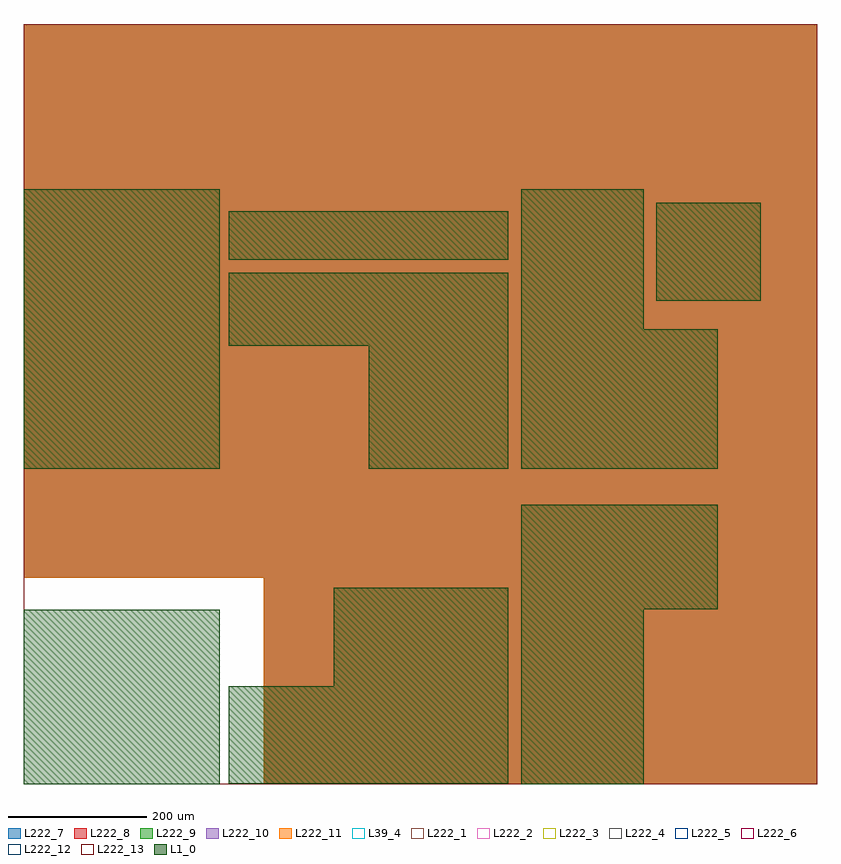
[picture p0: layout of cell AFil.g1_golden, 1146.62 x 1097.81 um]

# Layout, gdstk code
import gdstk
lib = gdstk.Library(unit=1e-6, precision=1e-09)
def R(c, l, rs):  # rectangles x0, y0, x1, y1
    for r in rs: c.add(gdstk.rectangle(r[:2], r[2:], *l))
def A(c, l, x, y, w, h, nx, ny, dx, dy):  # array of equal rectangles
    R(c, l, [(x+i*dx, y+j*dy, x+i*dx+w, y+j*dy+h) for i in range(nx) for j in range(ny)])
L1_0 = (1, 0)
L39_4 = (39, 4)
L222_1 = (222, 1)
L222_2 = (222, 2)
L222_3 = (222, 3)
L222_4 = (222, 4)
L222_5 = (222, 5)
L222_6 = (222, 6)
L222_7 = (222, 7)
L222_8 = (222, 8)
L222_9 = (222, 9)
L222_10 = (222, 10)
L222_11 = (222, 11)
L222_12 = (222, 12)
L222_13 = (222, 13)

afil_g1_golden = lib.new_cell('AFil.g1_golden')
A(afil_g1_golden, L1_0, 0, 0, 35, 50, 8, 5, 35.5, 50.5)
A(afil_g1_golden, L1_0, 718.9, 0, 35, 50, 5, 5, 35.5, 50.5)
A(afil_g1_golden, L1_0, 296.58, 0.03, 50, 35, 8, 4, 50.5, 35.5)
A(afil_g1_golden, L1_0, 448.08, 142.03, 50, 35, 5, 4, 50.5, 35.5)
A(afil_g1_golden, L1_0, 718.9, 252.5, 35, 50, 8, 3, 35.5, 50.5)
A(afil_g1_golden, L1_0, 0, 455.31, 35, 50, 8, 8, 35.5, 50.5)
A(afil_g1_golden, L1_0, 718.9, 455.31, 35, 50, 8, 4, 35.5, 50.5)
A(afil_g1_golden, L1_0, 498.58, 455.34, 50, 35, 4, 5, 50.5, 35.5)
A(afil_g1_golden, L1_0, 296.58, 632.84, 50, 35, 8, 3, 50.5, 35.5)
A(afil_g1_golden, L1_0, 718.9, 657.31, 35, 50, 5, 4, 35.5, 50.5)
A(afil_g1_golden, L1_0, 913.63, 698.25, 50, 35, 3, 4, 50.5, 35.5)
A(afil_g1_golden, L1_0, 296.58, 756.93, 50, 35, 8, 2, 50.5, 35.5)
R(afil_g1_golden, L39_4, [(0,0,1146.62,1097.81)])
R(afil_g1_golden, L222_1, [(0,0,1146.62,1097.81)])
R(afil_g1_golden, L222_2, [(0,0,1146.62,1097.81)])
R(afil_g1_golden, L222_3, [(0,0,1146.62,1097.81)])
R(afil_g1_golden, L222_4, [(0,0,1146.62,1097.81)])
R(afil_g1_golden, L222_5, [(0,0,1146.62,1097.81)])
R(afil_g1_golden, L222_6, [(0,0,1146.62,1097.81)])
R(afil_g1_golden, L222_7, [(346.62,0,1146.62,800), (0,297.81,800,1097.81), (346.62,297.81,1146.62,1097.81)])
R(afil_g1_golden, L222_8, [(346.62,0,1146.62,800), (0,297.81,800,1097.81), (346.62,297.81,1146.62,1097.81)])
R(afil_g1_golden, L222_9, [(346.62,0,1146.62,800), (0,297.81,800,1097.81), (346.62,297.81,1146.62,1097.81)])
R(afil_g1_golden, L222_10, [(346.62,0,1146.62,800), (0,297.81,800,1097.81), (346.62,297.81,1146.62,1097.81)])
R(afil_g1_golden, L222_11, [(346.62,0,1146.62,800), (0,297.81,800,1097.81), (346.62,297.81,1146.62,1097.81)])
R(afil_g1_golden, L222_12, [(0,0,1146.62,1097.81)])
R(afil_g1_golden, L222_13, [(0,0,1146.62,1097.81)])

lib.write_gds('AFil.g1_golden.gds')
